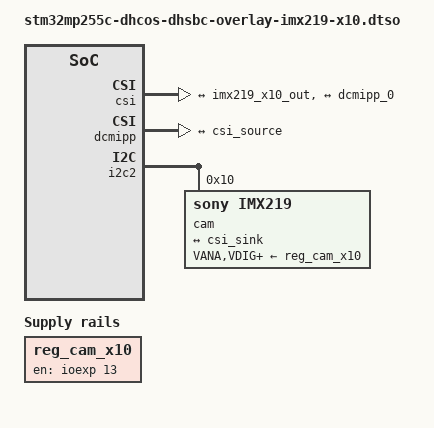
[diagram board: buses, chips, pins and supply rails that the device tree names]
// SPDX-License-Identifier: (GPL-2.0-or-later OR BSD-3-Clause)
/*
 * Copyright (C) 2026 Marek Vasut <marex@nabladev.com>
 *
 * Set up pipeline for raw bayer capture:
 * $ media-ctl -d platform:48030000.dcmipp -r
 * $ media-ctl -d platform:48030000.dcmipp -l '"48020000.csi":1->"dcmipp_input":0[1]'
 * $ media-ctl -d platform:48030000.dcmipp -l "'dcmipp_input':1->'dcmipp_dump_postproc':0[1]"
 * $ media-ctl -d platform:48030000.dcmipp --set-v4l2 "'imx219 0-0010':0[fmt:SRGGB8_1X8/1920x1080]"
 * $ media-ctl -d platform:48030000.dcmipp --set-v4l2 "'48020000.csi':1[fmt:SRGGB8_1X8/1920x1080]"
 * $ media-ctl -d platform:48030000.dcmipp --set-v4l2 "'dcmipp_input':1[fmt:SRGGB8_1X8/1920x1080 field:none]"
 * $ media-ctl -d platform:48030000.dcmipp --set-v4l2 "'dcmipp_dump_postproc':0[compose:(0,0)/1920x1080]"
 * $ media-ctl -d platform:48030000.dcmipp --set-v4l2 "'dcmipp_dump_postproc':1[fmt:SRGGB8_1X8/1920x1080]"
 * $ v4l2-ctl -d /dev/video0 --set-fmt-video=width=1920,height=1080,pixelformat=RGGB
 *
 * Capture frame using v4l2-ctl:
 * $ v4l2-ctl -d /dev/video0 --stream-mmap --stream-count=1 --stream-to=/frame.raw
 *
 * Capture frame using gstreamer:
 * $ gst-launch-1.0 v4l2src device=/dev/video0 num-buffers=1 ! \
 *                  video/x-bayer,width=1920,height=1080,format=rggb ! \
 *                  bayer2rgb ! jpegenc ! filesink location=/test.jpg
 */

/dts-v1/;
/plugin/;

#include <dt-bindings/gpio/gpio.h>

&{/} {
	clk_cam_x10: clk-cam-j1 {
		compatible = "fixed-clock";
		#clock-cells = <0>;
		clock-frequency = <24000000>;
	};

	/* Page 29 / CSI_IF_CN / J1 */
	reg_cam_x10: reg-cam-j1 {
		compatible = "regulator-fixed";
		regulator-name = "cam-X10";
		enable-active-high;
		gpios = <&ioexp 13 GPIO_ACTIVE_HIGH>;
	};
};

&csi {
	vdd-supply = <&scmi_vddcore>;
	vdda18-supply = <&scmi_v1v8>;
	status = "okay";

	ports {
		#address-cells = <1>;
		#size-cells = <0>;

		port@0 {
			reg = <0>;

			csi_sink: endpoint {
				remote-endpoint = <&imx219_x10_out>;
				data-lanes = <1 2>;
				bus-type = <4>;
			};
		};
		port@1 {
			reg = <1>;

			csi_source: endpoint {
				remote-endpoint = <&dcmipp_0>;
			};
		};
	};
};

&dcmipp {
	status = "okay";

	port {
		dcmipp_0: endpoint {
			remote-endpoint = <&csi_source>;
			bus-type = <4>;
		};
	};
};

&i2c2 {
	#address-cells = <1>;
	#size-cells = <0>;

	cam@10 {
		compatible = "sony,imx219";
		reg = <0x10>;

		clocks = <&clk_cam_x10>;

		VANA-supply = <&reg_cam_x10>;
		VDIG-supply = <&reg_cam_x10>;
		VDDL-supply = <&reg_cam_x10>;

		orientation = <2>;
		rotation = <0>;

		port {
			imx219_x10_out: endpoint {
				clock-noncontinuous;
				link-frequencies = /bits/ 64 <456000000>;
				data-lanes = <1 2>;
				remote-endpoint = <&csi_sink>;
			};
		};
	};
};
